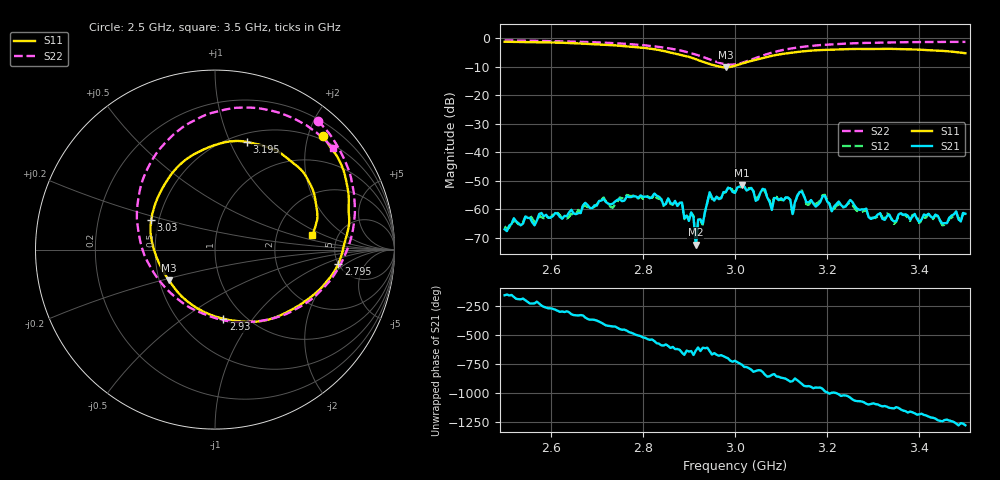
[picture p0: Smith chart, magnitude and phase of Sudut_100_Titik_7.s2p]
# Hz S RI R 50
! CMT, C1220, 16058040, 17.2.0/1
! Date: 15/08/2018 10:07:59
! Data: Format (Calibration Info)
! Freq  S11: Re/Im (F2)  S21: Re/Im (F2)  S12: Re/Im (F2)  S22: Re/Im (F2)
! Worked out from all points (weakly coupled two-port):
!   201 points, 2.5 GHz to 3.5 GHz, reference 50 ohm
!   highest |S21| = -51.63 dB at 3.015 GHz (marker M1); lowest = -72.4 dB at 2.915 GHz (marker M2)
!   lowest |S11| = -10.2 dB at 2.98 GHz (marker M3), VSWR 1.89, Z = 28.1 - j10.6 ohm
!   |S11| at or under -10 dB: 2.969 GHz to 2.991 GHz (22.1 MHz wide, 0.742 % of centre)
!   |S22| runs from -9.2 to -0.7 dB; largest |S21 - S12| = 0.00023
!   S11 on the Smith chart (normalised r, x): 2.5 GHz: 0.43, +2.26; 2.795 GHz: 5.00, -1.53; 2.93 GHz: 0.80, -0.73; 3.03 GHz: 0.45, +0.18; 3.195 GHz: 0.59, +1.16; 3.5 GHz: 3.24, +0.74
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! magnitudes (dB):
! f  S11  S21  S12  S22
! 2.5 GHz  -1.2  -67.0  -66.0  -0.7
! 2.67 GHz  -1.9  -58.7  -59.0  -1.2
! 2.795 GHz  -3.2  -55.2  -55.5  -2.3
! 2.835 GHz  -4.1  -55.6  -56.3  -3.0
! 2.905 GHz  -6.8  -61.2  -61.2  -5.2
! 2.915 GHz  -7.3  -72.4  -73.0  -5.7
! 2.92 GHz  -7.7  -63.7  -65.0  -6.0
! 2.93 GHz  -8.2  -65.1  -65.4  -6.5
! 2.945 GHz  -9.0  -54.2  -54.0  -7.4
! 2.98 GHz  -10.2  -54.0  -54.0  -9.1
! 3 GHz  -9.6  -54.3  -54.1  -9.1
! 3.015 GHz  -8.8  -51.6  -51.6  -8.6
! 3.03 GHz  -8.1  -53.0  -52.6  -7.8
! 3.08 GHz  -6.2  -60.3  -59.8  -5.0
! 3.115 GHz  -5.2  -55.9  -56.0  -3.8
! 3.125 GHz  -5.0  -61.7  -62.1  -3.5
! 3.14 GHz  -4.7  -54.0  -53.8  -3.1
! 3.17 GHz  -4.3  -58.0  -57.6  -2.6
! 3.195 GHz  -4.1  -55.2  -54.9  -2.3
! 3.21 GHz  -4.0  -60.7  -60.8  -2.1
! 3.335 GHz  -3.7  -61.9  -62.2  -1.4
! 3.5 GHz  -5.2  -61.6  -62.2  -1.3
